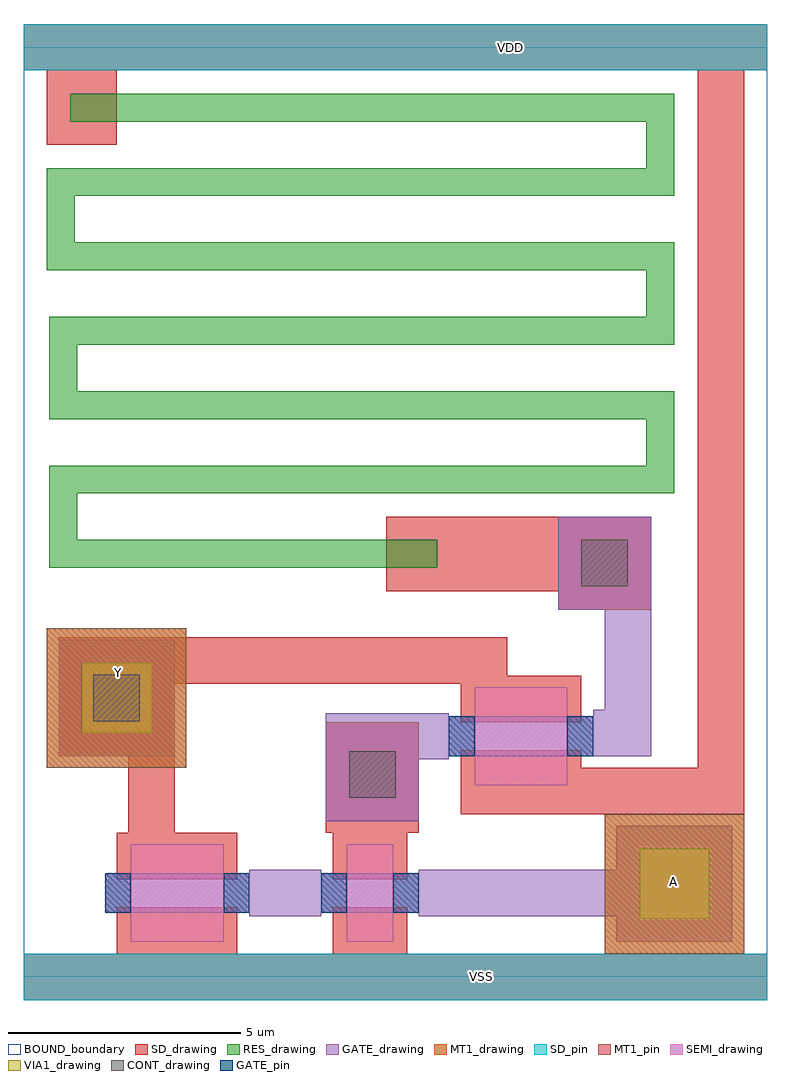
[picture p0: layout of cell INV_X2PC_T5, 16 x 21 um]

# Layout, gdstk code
from math import pi, radians
import gdstk
lib = gdstk.Library(unit=1e-6, precision=1e-09)
def R(c, l, rs):  # rectangles x0, y0, x1, y1
    for r in rs: c.add(gdstk.rectangle(r[:2], r[2:], *l))
def P(c, l, *ps):  # polygons
    for p in ps: c.add(gdstk.Polygon(p, *l))
RES_drawing = (1, 0)
SEMI_drawing = (3, 0)
SD_drawing = (10, 0)
SD_pin = (10, 3)
GATE_drawing = (11, 0)
GATE_pin = (11, 3)
MT1_drawing = (20, 0)
MT1_pin = (20, 3)
CONT_drawing = (30, 0)
VIA1_drawing = (41, 0)
BOUND_boundary = (150, 5)

nch_cdns_772544922230 = lib.new_cell('nch_CDNS_772544922230')
R(nch_cdns_772544922230, SEMI_drawing, [(-1.05,-1,1.05,1)])
R(nch_cdns_772544922230, SD_drawing, [(-1.3,-1.3,-0.3,1.3), (0.3,-1.3,1.3,1.3)])
R(nch_cdns_772544922230, GATE_drawing, [(-0.425,-1.55,0.425,1.55)])
R(nch_cdns_772544922230, GATE_pin, [(-0.425,-1.55,0.425,-1), (-0.425,1,0.425,1.55)])

nch_cdns_772544922231 = lib.new_cell('nch_CDNS_772544922231')
R(nch_cdns_772544922231, SEMI_drawing, [(-1.05,-0.5,1.05,0.5)])
R(nch_cdns_772544922231, SD_drawing, [(-1.3,-0.8,-0.3,0.8), (0.3,-0.8,1.3,0.8)])
R(nch_cdns_772544922231, GATE_drawing, [(-0.425,-1.05,0.425,1.05)])
R(nch_cdns_772544922231, GATE_pin, [(-0.425,-1.05,0.425,-0.5), (-0.425,0.5,0.425,1.05)])

gate_mt1_cdns_7725449222 = lib.new_cell('GATE_MT1_CDNS_772544922230')
R(gate_mt1_cdns_7725449222, GATE_drawing, [(-1.25,-1.25,1.25,1.25)])
R(gate_mt1_cdns_7725449222, MT1_drawing, [(-1.25,-1.25,1.25,1.25)])
R(gate_mt1_cdns_7725449222, VIA1_drawing, [(-0.75,-0.75,0.75,0.75)])

sd_gate_cdns_77254492223 = lib.new_cell('SD_GATE_CDNS_772544922231')
R(sd_gate_cdns_77254492223, SD_drawing, [(-1,-1,1,1)])
R(sd_gate_cdns_77254492223, GATE_drawing, [(-1,-1,1,1)])
R(sd_gate_cdns_77254492223, CONT_drawing, [(-0.5,-0.5,0.5,0.5)])

c_sd_gate_cdns_77254492223 = lib.new_cell('SD_GATE_CDNS_772544922232')
R(c_sd_gate_cdns_77254492223, SD_drawing, [(-1.25,-1.25,1.25,1.25)])
R(c_sd_gate_cdns_77254492223, GATE_drawing, [(-1.25,-1.25,1.25,1.25)])
R(c_sd_gate_cdns_77254492223, CONT_drawing, [(-0.5,-0.5,0.5,0.5)])

c_gate_mt1_cdns_7725449222 = lib.new_cell('GATE_MT1_CDNS_772544922233')
R(c_gate_mt1_cdns_7725449222, GATE_drawing, [(-1.25,-1.25,1.25,1.25)])
R(c_gate_mt1_cdns_7725449222, MT1_drawing, [(-1.5,-1.5,1.5,1.5)])
R(c_gate_mt1_cdns_7725449222, VIA1_drawing, [(-0.75,-0.75,0.75,0.75)])

inv_x2pc_t5 = lib.new_cell('INV_X2PC_T5')
R(inv_x2pc_t5, SD_drawing, [(0,-0.5,16,0.5), (6.5,3.1,8.5,5.475), (14.5,5.9,15.5,19.5), (7.8,8.3,11.5,9.9), (0.5,17.9,2,19.5), (0,19.5,16,20.5)])
R(inv_x2pc_t5, SD_pin, [(0,-0.5,16,0.5), (0,19.5,16,20.5)])
P(inv_x2pc_t5, GATE_drawing, [(12.35,4.75),(12.35,5.75),(12.25,5.75),(12.25,5.525),(12.2,5.525),(12.2,4.775),(12.25,4.775),(12.25,4.75)],
  [(9.05,4.675),(9.05,5.675),(9.15,5.675),(9.15,5.55),(9.2,5.55),(9.2,4.8),(9.15,4.8),(9.15,4.675)],
  [(6.3,1.3),(6.3,2.3),(6.4,2.3),(6.4,2.175),(6.45,2.175),(6.45,1.425),(6.4,1.425),(6.4,1.3)],
  [(8.6,1.3),(8.6,2.3),(8.5,2.3),(8.5,2.175),(8.45,2.175),(8.45,1.425),(8.5,1.425),(8.5,1.3)],
  [(4.95,1.3),(4.95,2.3),(4.85,2.3),(4.85,2.175),(4.8,2.175),(4.8,1.425),(4.85,1.425),(4.85,1.3)])
R(inv_x2pc_t5, MT1_drawing, [(12.5,0.5,15.5,3.5), (0.5,4.5,3.5,7.5)])
R(inv_x2pc_t5, MT1_pin, [(12.5,0.5,15.5,3.5), (0.5,4.5,3.5,7.5)])
R(inv_x2pc_t5, BOUND_boundary, [(0,0,16,20)])
inv_x2pc_t5.add(gdstk.FlexPath([(6.5,5.175),(9.05,5.175)], 1, ends="flush", simple_path=True, layer=11, datatype=0))  # GATE_drawing
inv_x2pc_t5.add(gdstk.FlexPath([(12.35,5.25),(13,5.25)], 1, ends=(0, 0.5), simple_path=True, layer=11, datatype=0))  # GATE_drawing
inv_x2pc_t5.add(gdstk.FlexPath([(13,5.25),(13,7.95)], 1, ends=(0.5, 0), simple_path=True, layer=11, datatype=0))  # GATE_drawing
inv_x2pc_t5.add(gdstk.FlexPath([(14,1.8),(14,2.025)], 1, ends=(0.5, 0), simple_path=True, layer=11, datatype=0))  # GATE_drawing
inv_x2pc_t5.add(gdstk.FlexPath([(8.6,1.8),(12.75,1.8)], 1, ends="flush", simple_path=True, layer=11, datatype=0))  # GATE_drawing
inv_x2pc_t5.add(gdstk.FlexPath([(4.95,1.8),(6.3,1.8)], 1, ends="flush", simple_path=True, layer=11, datatype=0))  # GATE_drawing
inv_x2pc_t5.add(gdstk.FlexPath([(15,4),(15,19.5)], 1, ends=(0.5, 0), simple_path=True, layer=10, datatype=0))  # SD_drawing
inv_x2pc_t5.add(gdstk.FlexPath([(2.75,6.8),(0.75,6.8)], 1, ends=(0.5, 0), simple_path=True, layer=10, datatype=0))  # SD_drawing
inv_x2pc_t5.add(gdstk.FlexPath([(9.9,6.375),(9.9,6.8)], 1, ends=(0, 0.5), simple_path=True, layer=10, datatype=0))  # SD_drawing
inv_x2pc_t5.add(gdstk.FlexPath([(9.4,4),(15,4)], 1, ends=(0, 0.5), simple_path=True, layer=10, datatype=0))  # SD_drawing
inv_x2pc_t5.add(gdstk.FlexPath([(9.9,6.8),(2.75,6.8)], 1, ends="extended", simple_path=True, layer=10, datatype=0))  # SD_drawing
inv_x2pc_t5.add(gdstk.FlexPath([(2.75,6.8),(2.75,3.1)], 1, ends=(0.5, 0), simple_path=True, layer=10, datatype=0))  # SD_drawing
inv_x2pc_t5.add(gdstk.FlexPath([(8.9,9.1),(0.85,9.1),(0.85,10.7),(13.7,10.7),(13.7,12.3),(0.85,12.3),(0.85,13.9),(13.7,13.9),(13.7,15.5),(0.8,15.5),(0.8,17.1),(13.7,17.1),(13.7,18.7),(1,18.7)], 0.6, ends="flush", simple_path=True, layer=1, datatype=0))  # RES_drawing
inv_x2pc_t5.add(gdstk.Reference(nch_cdns_772544922230, (10.7,5.175), rotation=3*pi/2, x_reflection=True))
inv_x2pc_t5.add(gdstk.Reference(nch_cdns_772544922230, (3.3,1.8), rotation=pi/2))
inv_x2pc_t5.add(gdstk.Reference(nch_cdns_772544922231, (7.45,1.8), rotation=pi/2))
inv_x2pc_t5.add(gdstk.Reference(gate_mt1_cdns_7725449222, (2,6)))
inv_x2pc_t5.add(gdstk.Reference(sd_gate_cdns_77254492223, (12.5,8.9)))
inv_x2pc_t5.add(gdstk.Reference(sd_gate_cdns_77254492223, (7.5,4.35)))
inv_x2pc_t5.add(gdstk.Reference(c_sd_gate_cdns_77254492223, (2,6)))
inv_x2pc_t5.add(gdstk.Reference(c_gate_mt1_cdns_7725449222, (14,2)))
inv_x2pc_t5.add(gdstk.Label('VDD', (10.475,20), layer=10, texttype=3))
inv_x2pc_t5.add(gdstk.Label('VSS', (9.85,0), layer=10, texttype=3))
inv_x2pc_t5.add(gdstk.Label('Y', (2.05,6.55), layer=20, texttype=3))
inv_x2pc_t5.add(gdstk.Label('A', (13.975,2.05), layer=20, texttype=3))
inv_x2pc_t5.add(gdstk.Label('A', (14.075,2.25), layer=20, texttype=3))

lib.write_gds('INV_X2PC_T5.gds')
